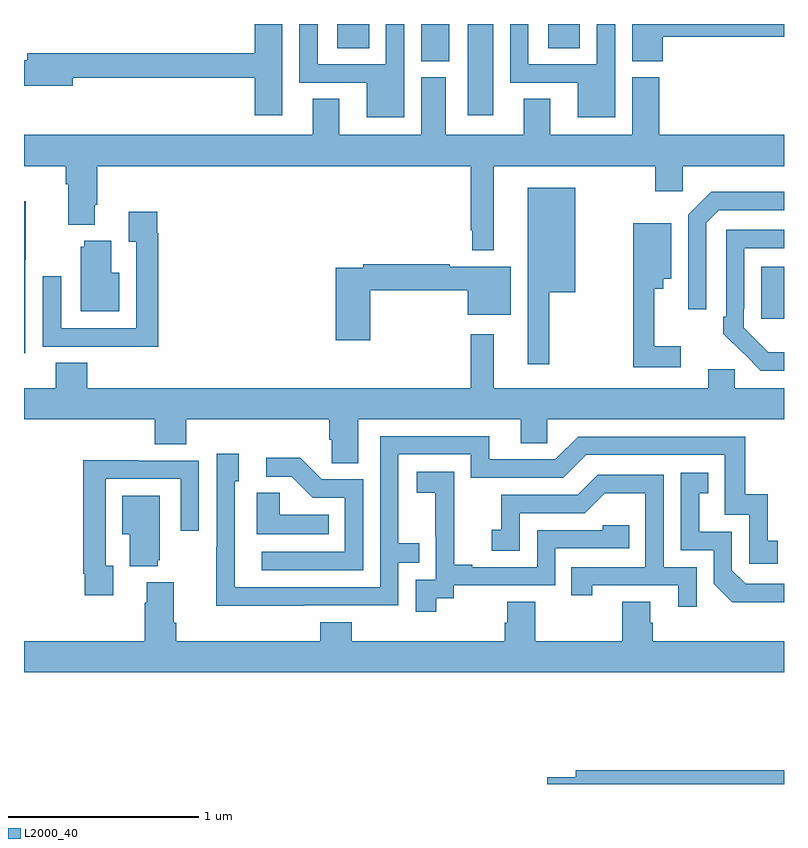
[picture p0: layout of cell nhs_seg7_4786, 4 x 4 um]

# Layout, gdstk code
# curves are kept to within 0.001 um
import gdstk
lib = gdstk.Library(unit=1e-6, precision=1e-09)
def R(c, l, rs):  # rectangles x0, y0, x1, y1
    for r in rs: c.add(gdstk.rectangle(r[:2], r[2:], *l))
def P(c, l, *ps):  # polygons
    for p in ps: c.add(gdstk.Polygon(p, *l))
L2000_40 = (2000, 40)

nhs_seg7_4786 = lib.new_cell('nhs_seg7_4786')
R(nhs_seg7_4786, L2000_40, [(414.881,1030.449,415,1030.723), (413.336,1031.52,413.47,1032), (413.09,1031.805,413.239,1032), (412.649,1031.872,412.816,1032), (413.759,1031.872,413.926,1032)])
P(nhs_seg7_4786, L2000_40, [(414.111,1032),(414.015,1032),(414.015,1031.787),(413.655,1031.787),(413.655,1032),(413.559,1032),(413.559,1031.691),(413.915,1031.691),(413.915,1031.51),(414.111,1031.51)],
  [(414.362,1031.932),(415,1031.932),(415,1032),(414.2,1032),(414.2,1031.805),(414.362,1031.805)],
  [(413.001,1032),(412.905,1032),(412.905,1031.787),(412.545,1031.787),(412.545,1032),(412.449,1032),(412.449,1031.691),(412.805,1031.691),(412.805,1031.51),(413.001,1031.51)],
  [(412.36,1032),(412.214,1032),(412.214,1031.846),(411.017,1031.846),(411.017,1031.81),(411,1031.81),(411,1031.675),(411.256,1031.675),(411.256,1031.718),(412.214,1031.718),(412.214,1031.52),(412.36,1031.52)],
  [(413.473,1031.252),(414.322,1031.252),(414.322,1031.121),(414.468,1031.121),(414.468,1031.252),(415,1031.252),(415,1031.416),(414.344,1031.416),(414.344,1031.721),(414.2,1031.721),(414.2,1031.416),(413.77,1031.416),(413.77,1031.606),(413.63,1031.606),(413.63,1031.416),(413.221,1031.416),(413.221,1031.721),(413.09,1031.721),(413.09,1031.416),(412.66,1031.416),(412.66,1031.606),(412.52,1031.606),(412.52,1031.416),(411,1031.416),(411,1031.252),(411.221,1031.252),(411.221,1031.156),(411.233,1031.156),(411.233,1030.943),(411.373,1030.943),(411.373,1031.05),(411.386,1031.05),(411.386,1031.252),(413.352,1031.252),(413.352,1030.915),(413.358,1030.915),(413.358,1030.808),(413.473,1030.808)],
  [(413.765,1030.589),(413.902,1030.589),(413.902,1031.137),(413.651,1031.137),(413.651,1030.209),(413.765,1030.209)],
  [(414.591,1030.953),(414.657,1031.019),(415,1031.019),(415,1031.116),(414.616,1031.116),(414.495,1030.995),(414.495,1030.5),(414.591,1030.5)],
  [(411.006,1030.759),(411.009,1030.759),(411.009,1031.066),(411,1031.066),(411,1030.266),(411.006,1030.266)],
  [(411.707,1030.898),(411.7,1030.898),(411.7,1031.011),(411.551,1031.011),(411.551,1030.855),(411.591,1030.855),(411.591,1030.398),(411.195,1030.398),(411.195,1030.672),(411.099,1030.672),(411.099,1030.302),(411.415,1030.302),(411.415,1030.301),(411.707,1030.301)],
  [(414.457,1030.303),(414.317,1030.303),(414.317,1030.607),(414.364,1030.607),(414.364,1030.658),(414.406,1030.658),(414.406,1030.951),(414.206,1030.951),(414.206,1030.711),(414.207,1030.711),(414.207,1030.194),(414.457,1030.194)],
  [(415,1030.273),(414.918,1030.273),(414.789,1030.401),(414.789,1030.501),(414.792,1030.501),(414.792,1030.821),(415,1030.821),(415,1030.917),(414.696,1030.917),(414.696,1030.459),(414.681,1030.459),(414.681,1030.371),(414.878,1030.176),(415,1030.176)],
  [(411.502,1030.69),(411.46,1030.69),(411.46,1030.858),(411.317,1030.858),(411.317,1030.827),(411.299,1030.827),(411.299,1030.487),(411.502,1030.487)],
  [(412.823,1030.6),(413.336,1030.6),(413.336,1030.469),(413.563,1030.469),(413.563,1030.723),(413.24,1030.723),(413.24,1030.736),(412.786,1030.736),(412.786,1030.716),(412.64,1030.716),(412.64,1030.335),(412.823,1030.335)],
  [(412.759,1029.92),(413.615,1029.92),(413.615,1029.793),(413.754,1029.793),(413.754,1029.92),(415,1029.92),(415,1030.084),(414.741,1030.084),(414.741,1030.182),(414.602,1030.182),(414.602,1030.084),(413.473,1030.084),(413.473,1030.366),(413.352,1030.366),(413.352,1030.084),(411.332,1030.084),(411.332,1030.217),(411.167,1030.217),(411.167,1030.084),(411,1030.084),(411,1029.92),(411.689,1029.92),(411.689,1029.787),(411.854,1029.787),(411.854,1029.92),(412.607,1029.92),(412.607,1029.811),(412.62,1029.811),(412.62,1029.688),(412.759,1029.688)],
  [(412.475,1028.94),(412.971,1028.94),(412.971,1029.165),(413.081,1029.165),(413.081,1029.266),(412.971,1029.266),(412.971,1029.735),(413.352,1029.735),(413.352,1029.612),(413.838,1029.612),(413.958,1029.732),(414.687,1029.732),(414.687,1029.417),(414.816,1029.417),(414.816,1029.159),(414.967,1029.159),(414.967,1029.279),(414.914,1029.279),(414.914,1029.526),(414.796,1029.526),(414.796,1029.828),(413.916,1029.828),(413.796,1029.708),(413.449,1029.708),(413.449,1029.831),(412.875,1029.831),(412.875,1029.036),(412.11,1029.036),(412.11,1029.594),(412.129,1029.594),(412.129,1029.739),(412.014,1029.739),(412.014,1029.245),(412.012,1029.245),(412.012,1028.939)],
  [(412.785,1029.603),(412.566,1029.603),(412.453,1029.716),(412.275,1029.716),(412.275,1029.618),(412.409,1029.618),(412.52,1029.507),(412.689,1029.507),(412.689,1029.222),(412.251,1029.222),(412.251,1029.126),(412.785,1029.126)],
  [(411.469,1029.15),(411.429,1029.15),(411.429,1029.606),(411.825,1029.606),(411.825,1029.333),(411.921,1029.333),(411.921,1029.702),(411.605,1029.702),(411.605,1029.704),(411.313,1029.704),(411.313,1029.106),(411.321,1029.106),(411.321,1028.994),(411.469,1028.994)],
  [(413.17,1028.977),(413.262,1028.977),(413.262,1029.045),(413.796,1029.045),(413.796,1029.24),(414.185,1029.24),(414.185,1029.363),(414.045,1029.363),(414.045,1029.336),(413.7,1029.336),(413.7,1029.141),(413.359,1029.141),(413.359,1029.154),(413.264,1029.154),(413.264,1029.437),(413.265,1029.437),(413.265,1029.643),(413.067,1029.643),(413.067,1029.533),(413.165,1029.533),(413.165,1029.305),(413.166,1029.305),(413.166,1029.075),(413.061,1029.075),(413.061,1028.907),(413.17,1028.907)],
  [(415,1029.054),(414.798,1029.054),(414.726,1029.126),(414.726,1029.327),(414.553,1029.327),(414.553,1029.531),(414.602,1029.531),(414.602,1029.637),(414.456,1029.637),(414.456,1029.231),(414.63,1029.231),(414.63,1029.054),(414.728,1028.957),(415,1028.957)],
  [(414.54,1029.141),(414.366,1029.141),(414.366,1029.627),(414.02,1029.627),(413.915,1029.522),(413.512,1029.522),(413.512,1029.337),(413.463,1029.337),(413.463,1029.228),(413.61,1029.228),(413.61,1029.426),(413.952,1029.426),(414.056,1029.53),(414.27,1029.53),(414.27,1029.141),(413.881,1029.141),(413.881,1028.994),(413.992,1028.994),(413.992,1029.045),(414.443,1029.045),(414.443,1028.934),(414.54,1028.934)],
  [(412.604,1029.418),(412.347,1029.418),(412.347,1029.533),(412.226,1029.533),(412.226,1029.314),(412.604,1029.314)],
  [(411.704,1029.177),(411.715,1029.177),(411.715,1029.517),(411.518,1029.517),(411.518,1029.314),(411.557,1029.314),(411.557,1029.146),(411.704,1029.146)],
  [(415,1028.752),(414.308,1028.752),(414.308,1028.85),(414.295,1028.85),(414.295,1028.96),(414.148,1028.96),(414.148,1028.752),(413.691,1028.752),(413.691,1028.96),(413.543,1028.96),(413.543,1028.85),(413.531,1028.85),(413.531,1028.752),(412.724,1028.752),(412.724,1028.851),(412.559,1028.851),(412.559,1028.752),(411.8,1028.752),(411.8,1028.848),(411.787,1028.848),(411.787,1029.061),(411.647,1029.061),(411.647,1028.954),(411.635,1028.954),(411.635,1028.752),(411,1028.752),(411,1028.588),(415,1028.588)],
  [(415,1028.072),(413.903,1028.072),(413.903,1028.036),(413.754,1028.036),(413.754,1028),(415,1028)])

lib.write_gds('nhs_seg7_4786.gds')
